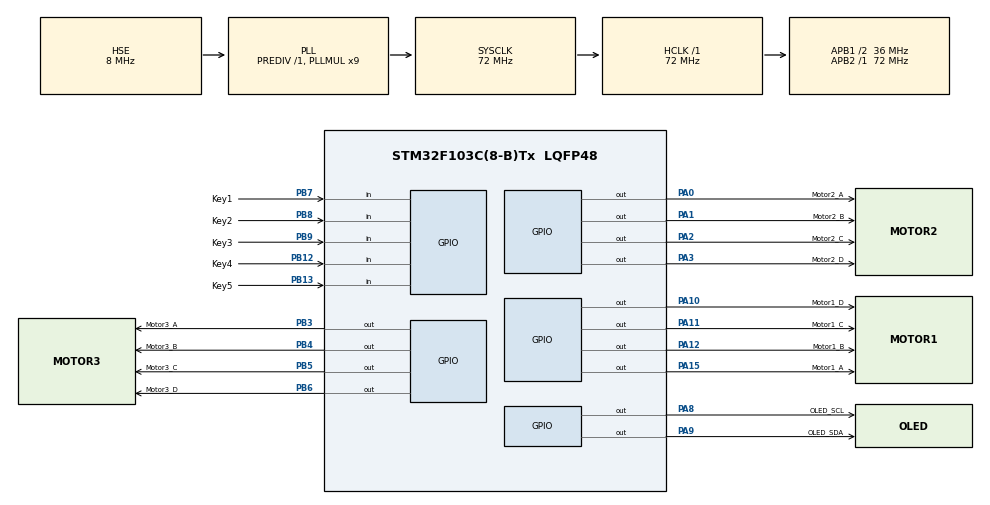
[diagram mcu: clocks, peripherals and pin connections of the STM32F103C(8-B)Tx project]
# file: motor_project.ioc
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Dma.Request0=TIM2_UP
Dma.Request1=TIM3_CH4/UP
Dma.Request2=TIM4_UP
Dma.TIM2_UP.0.Direction=DMA_MEMORY_TO_PERIPH
Dma.TIM2_UP.0.Instance=DMA1_Channel2
Dma.TIM2_UP.0.MemDataAlignment=DMA_MDATAALIGN_WORD
Dma.TIM2_UP.0.MemInc=DMA_MINC_ENABLE
Dma.TIM2_UP.0.Mode=DMA_CIRCULAR
Dma.TIM2_UP.0.PeriphDataAlignment=DMA_PDATAALIGN_WORD
Dma.TIM2_UP.0.PeriphInc=DMA_PINC_DISABLE
Dma.TIM2_UP.0.Priority=DMA_PRIORITY_HIGH
Dma.TIM3_CH4/UP.1.Direction=DMA_MEMORY_TO_PERIPH
Dma.TIM3_CH4/UP.1.Instance=DMA1_Channel3
Dma.TIM3_CH4/UP.1.MemDataAlignment=DMA_MDATAALIGN_WORD
Dma.TIM3_CH4/UP.1.MemInc=DMA_MINC_ENABLE
Dma.TIM3_CH4/UP.1.Mode=DMA_CIRCULAR
Dma.TIM3_CH4/UP.1.PeriphDataAlignment=DMA_PDATAALIGN_WORD
Dma.TIM3_CH4/UP.1.PeriphInc=DMA_PINC_DISABLE
Dma.TIM3_CH4/UP.1.Priority=DMA_PRIORITY_HIGH
Dma.TIM4_UP.2.Direction=DMA_MEMORY_TO_PERIPH
Dma.TIM4_UP.2.Instance=DMA1_Channel7
Dma.TIM4_UP.2.MemDataAlignment=DMA_MDATAALIGN_WORD
Dma.TIM4_UP.2.MemInc=DMA_MINC_ENABLE
Dma.TIM4_UP.2.Mode=DMA_CIRCULAR
Dma.TIM4_UP.2.PeriphDataAlignment=DMA_PDATAALIGN_WORD
Dma.TIM4_UP.2.PeriphInc=DMA_PINC_DISABLE
Dma.TIM4_UP.2.Priority=DMA_PRIORITY_HIGH
Mcu.Family=STM32F1
Mcu.Name=STM32F103C(8-B)Tx
Mcu.Package=LQFP48
NVIC.DMA1_Channel2_IRQn=true\:0\:0\:false\:false\:true\:false\:true\:true
NVIC.DMA1_Channel3_IRQn=true\:0\:0\:false\:false\:true\:false\:true\:true
NVIC.DMA1_Channel7_IRQn=true\:0\:0\:false\:false\:true\:false\:true\:true
NVIC.PriorityGroup=NVIC_PRIORITYGROUP_4
NVIC.TIM1_UP_IRQn=true\:0\:0\:false\:false\:true\:true\:true\:true
PA0-WKUP.GPIO_Label=Motor2_A
PA0-WKUP.GPIO_Speed=GPIO_SPEED_FREQ_HIGH
PA0-WKUP.Signal=GPIO_Output
PA1.GPIO_Label=Motor2_B
PA1.GPIO_Speed=GPIO_SPEED_FREQ_HIGH
PA1.Signal=GPIO_Output
PA10.GPIO_Label=Motor1_D
PA10.GPIO_ModeDefaultOutputPP=GPIO_MODE_OUTPUT_PP
PA10.GPIO_PuPd=GPIO_NOPULL
PA10.GPIO_Speed=GPIO_SPEED_FREQ_HIGH
PA10.Signal=GPIO_Output
PA11.GPIO_Label=Motor1_C
PA11.GPIO_Speed=GPIO_SPEED_FREQ_HIGH
PA11.PinState=GPIO_PIN_RESET
PA11.Signal=GPIO_Output
PA12.GPIO_Label=Motor1_B
PA12.GPIO_Speed=GPIO_SPEED_FREQ_HIGH
PA12.PinState=GPIO_PIN_RESET
PA12.Signal=GPIO_Output
PA13.Mode=Serial_Wire
PA13.Signal=SYS_JTMS-SWDIO
PA14.Mode=Serial_Wire
PA14.Signal=SYS_JTCK-SWCLK
PA15.GPIO_Label=Motor1_A
PA15.GPIO_Speed=GPIO_SPEED_FREQ_HIGH
PA15.Signal=GPIO_Output
PA2.GPIO_Label=Motor2_C
PA2.GPIO_Speed=GPIO_SPEED_FREQ_HIGH
PA2.Signal=GPIO_Output
PA3.GPIO_Label=Motor2_D
PA3.GPIO_Speed=GPIO_SPEED_FREQ_HIGH
PA3.Signal=GPIO_Output
PA8.GPIO_Label=OLED_SCL
PA8.GPIO_ModeDefaultOutputPP=GPIO_MODE_OUTPUT_OD
PA8.GPIO_PuPd=GPIO_NOPULL
PA8.GPIO_Speed=GPIO_SPEED_FREQ_HIGH
PA8.Signal=GPIO_Output
PA9.GPIO_Label=OLED_SDA
PA9.GPIO_ModeDefaultOutputPP=GPIO_MODE_OUTPUT_OD
PA9.GPIO_PuPd=GPIO_NOPULL
PA9.GPIO_Speed=GPIO_SPEED_FREQ_HIGH
PA9.Signal=GPIO_Output
PB12.GPIO_Label=Key4
PB12.GPIO_PuPd=GPIO_PULLUP
PB12.Signal=GPIO_Input
PB13.GPIO_Label=Key5
PB13.GPIO_PuPd=GPIO_PULLUP
PB13.Signal=GPIO_Input
PB3.GPIO_Label=Motor3_A
PB3.GPIO_Speed=GPIO_SPEED_FREQ_HIGH
PB3.Signal=GPIO_Output
PB4.GPIO_Label=Motor3_B
PB4.GPIO_Speed=GPIO_SPEED_FREQ_HIGH
PB4.Signal=GPIO_Output
PB5.GPIO_Label=Motor3_C
PB5.GPIO_Speed=GPIO_SPEED_FREQ_HIGH
PB5.Signal=GPIO_Output
PB6.GPIO_Label=Motor3_D
PB6.GPIO_ModeDefaultOutputPP=GPIO_MODE_OUTPUT_PP
PB6.GPIO_PuPd=GPIO_NOPULL
PB6.GPIO_Speed=GPIO_SPEED_FREQ_HIGH
PB6.PinState=GPIO_PIN_RESET
PB6.Signal=GPIO_Output
PB7.GPIO_Label=Key1
PB7.GPIO_PuPd=GPIO_PULLUP
PB7.Signal=GPIO_Input
PB8.GPIO_Label=Key2
PB8.GPIO_PuPd=GPIO_PULLUP
PB8.Signal=GPIO_Input
PB9.GPIO_Label=Key3
PB9.GPIO_PuPd=GPIO_PULLUP
PB9.Signal=GPIO_Input
PD0-OSC_IN.Mode=HSE-External-Oscillator
PD0-OSC_IN.Signal=RCC_OSC_IN
PD1-OSC_OUT.Mode=HSE-External-Oscillator
PD1-OSC_OUT.Signal=RCC_OSC_OUT
ProjectManager.HeapSize=0x200
ProjectManager.StackSize=0x400
ProjectManager.TargetToolchain=MDK-ARM V5.32
RCC.AHBFreq_Value=72000000
RCC.APB1CLKDivider=RCC_HCLK_DIV2
RCC.APB1Freq_Value=36000000
RCC.APB1TimFreq_Value=72000000
RCC.APB2Freq_Value=72000000
RCC.APB2TimFreq_Value=72000000
RCC.HCLKFreq_Value=72000000
RCC.PLLMUL=RCC_PLL_MUL9
RCC.PLLSourceVirtual=RCC_PLLSOURCE_HSE
RCC.SYSCLKFreq_VALUE=72000000
RCC.SYSCLKSource=RCC_SYSCLKSOURCE_PLLCLK
RCC.USBFreq_Value=72000000
TIM1.AutoReloadPreload=TIM_AUTORELOAD_PRELOAD_ENABLE
TIM1.Period=19
TIM1.Prescaler=7199
TIM2.AutoReloadPreload=TIM_AUTORELOAD_PRELOAD_ENABLE
TIM2.Period=1999
TIM2.Prescaler=71
TIM2.TIM_MasterOutputTrigger=TIM_TRGO_UPDATE
TIM3.AutoReloadPreload=TIM_AUTORELOAD_PRELOAD_ENABLE
TIM3.Period=1999
TIM3.Prescaler=71
TIM3.TIM_MasterOutputTrigger=TIM_TRGO_UPDATE
TIM4.AutoReloadPreload=TIM_AUTORELOAD_PRELOAD_ENABLE
TIM4.Period=1999
TIM4.Prescaler=71
TIM4.TIM_MasterOutputTrigger=TIM_TRGO_UPDATE
VP_TIM1_VS_ClockSourceINT.Mode=Internal
VP_TIM2_VS_ClockSourceINT.Mode=Internal
VP_TIM3_VS_ClockSourceINT.Mode=Internal
VP_TIM4_VS_ClockSourceINT.Mode=Internal
board=custom

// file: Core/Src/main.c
/* USER CODE BEGIN Header */
/**
  ******************************************************************************
  * @file           : main.c
  * @brief          : Main program body
  ******************************************************************************
  * @attention
  *
  * Copyright (c) 2025 STMicroelectronics.
  * All rights reserved.
  *
  * This software is licensed under terms that can be found in the LICENSE file
  * in the root directory of this software component.
  * If no LICENSE file comes with this software, it is provided AS-IS.
  *
  ******************************************************************************
  */
/* USER CODE END Header */
#include "main.h"
#include "dma.h"
#include "tim.h"
#include "gpio.h"

/* USER CODE BEGIN Includes */
#include "Oled.h"
#include "motor.h"
/* USER CODE END Includes */

void SystemClock_Config(void);

int main(void)
{

  /* MCU Configuration--------------------------------------------------------*/

  /* Reset of all peripherals, Initializes the Flash interface and the Systick. */
  HAL_Init();

  /* Configure the system clock */
  SystemClock_Config();

  /* Initialize all configured peripherals */
  MX_GPIO_Init();
  MX_DMA_Init();
  MX_TIM2_Init();
  MX_TIM3_Init();
  MX_TIM4_Init();
  MX_TIM1_Init();
  /* USER CODE BEGIN 2 */

  /* USER CODE BEGIN 2 */

  HAL_TIM_Base_Start_IT(&htim1); // 启动 TIM1 并启用中断

	OLED_Init();
	OLED_Clear();
	Motor_InitAll();
	Motor_Run(1);
	Motor_Run(0);
	Motor_Run(2);
  /* USER CODE END 2 */

  /* Infinite loop */
  /* USER CODE BEGIN WHILE */
  while (1)
  {
//	  uint8_t KeyNum = Key_GetNum();
//	  OLED_ShowString(0, 0, "Main Menu", OLED_8X16);
//	  OLED_ShowNum(0, 16, KeyNum, 2, OLED_8X16);
//	  OLED_Update();
	menu1();
    /* USER CODE END WHILE */

  }
}

void SystemClock_Config(void)
{
  RCC_OscInitTypeDef RCC_OscInitStruct = {0};
  RCC_ClkInitTypeDef RCC_ClkInitStruct = {0};

  /** Initializes the RCC Oscillators according to the specified parameters
  * in the RCC_OscInitTypeDef structure.
  */
  RCC_OscInitStruct.OscillatorType = RCC_OSCILLATORTYPE_HSE;
  RCC_OscInitStruct.HSEState = RCC_HSE_ON;
  RCC_OscInitStruct.HSEPredivValue = RCC_HSE_PREDIV_DIV1;
  RCC_OscInitStruct.HSIState = RCC_HSI_ON;
  RCC_OscInitStruct.PLL.PLLState = RCC_PLL_ON;
  RCC_OscInitStruct.PLL.PLLSource = RCC_PLLSOURCE_HSE;
  RCC_OscInitStruct.PLL.PLLMUL = RCC_PLL_MUL9;
  if (HAL_RCC_OscConfig(&RCC_OscInitStruct) != HAL_OK)
  {
    Error_Handler();
  }

  /** Initializes the CPU, AHB and APB buses clocks
  */
  RCC_ClkInitStruct.ClockType = RCC_CLOCKTYPE_HCLK|RCC_CLOCKTYPE_SYSCLK
                              |RCC_CLOCKTYPE_PCLK1|RCC_CLOCKTYPE_PCLK2;
  RCC_ClkInitStruct.SYSCLKSource = RCC_SYSCLKSOURCE_PLLCLK;
  RCC_ClkInitStruct.AHBCLKDivider = RCC_SYSCLK_DIV1;
  RCC_ClkInitStruct.APB1CLKDivider = RCC_HCLK_DIV2;
  RCC_ClkInitStruct.APB2CLKDivider = RCC_HCLK_DIV1;

  if (HAL_RCC_ClockConfig(&RCC_ClkInitStruct, FLASH_LATENCY_2) != HAL_OK)
  {
    Error_Handler();
  }
}

/* USER CODE BEGIN 4 */

/**
 * @brief  定时器中断回调函数
 * @param  htim 定时器句柄
 * @retval None
 */
void HAL_TIM_PeriodElapsedCallback(TIM_HandleTypeDef *htim) {
    if (htim == &htim1){
        Key_Tick(); // 调用按键扫描函数
    }
}

/**
 * @brief  DMA传输完成回调函数
 * @param  hdma DMA句柄
 * @retval None
 */
void HAL_DMA_XferCpltCallback(DMA_HandleTypeDef *hdma) {
    for(int i=0; i<MOTOR_NUM; i++) {
        Motor *m = &motors[i];
        if(m->hdma == hdma && m->state == MOTOR_RUNNING) {
            // 更新步数计数器
            m->step_counter += (m->dir == DIR_CW) ? 4 : -4;
        }
		break;//找到后立刻退出
    }
}

/* USER CODE END 4 */

void Error_Handler(void)
{
  __disable_irq();
  while (1)
  {
  }
}
